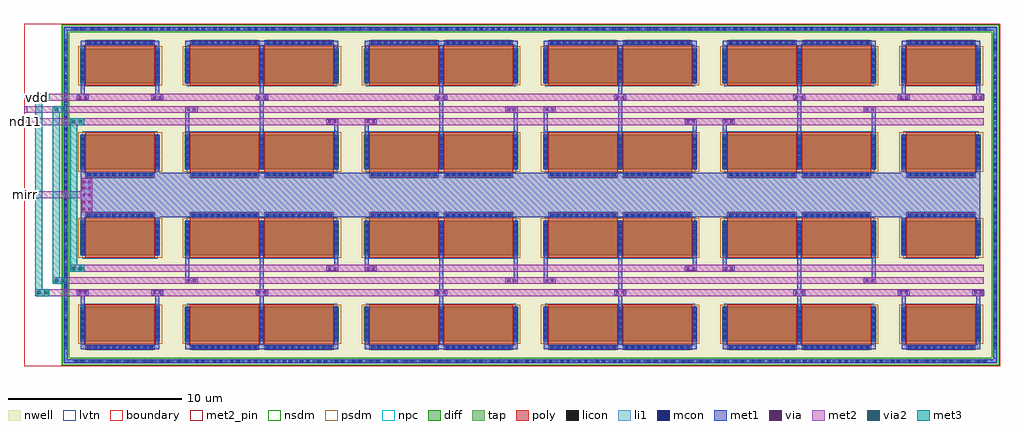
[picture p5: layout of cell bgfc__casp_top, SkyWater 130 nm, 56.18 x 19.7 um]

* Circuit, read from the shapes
.subckt bgfc__casp_top mirr nd10 nd11 vdd
XM1 vdd vdd vdd n1 sky130_fd_pr__pfet_01v8_lvt w=2 l=4 m=20
XM2 mirr mirr mirr n1 sky130_fd_pr__pfet_01v8_lvt w=2 l=4 m=4
XM3 vdd mirr nd10 n1 sky130_fd_pr__pfet_01v8_lvt w=2 l=4 m=8
XM4 nd11 mirr vdd n1 sky130_fd_pr__pfet_01v8_lvt w=2 l=4 m=8
.ends

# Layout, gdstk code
from math import pi, radians
import gdstk
lib = gdstk.Library(unit=1e-6, precision=1e-09)
def R(c, l, rs):  # rectangles x0, y0, x1, y1
    for r in rs: c.add(gdstk.rectangle(r[:2], r[2:], *l))
def A(c, l, x, y, w, h, nx, ny, dx, dy):  # array of equal rectangles
    R(c, l, [(x+i*dx, y+j*dy, x+i*dx+w, y+j*dy+h) for i in range(nx) for j in range(ny)])
nwell = (64, 20)
diff = (65, 20)
tap = (65, 44)
poly = (66, 20)
licon = (66, 44)
li1 = (67, 20)
mcon = (67, 44)
met1 = (68, 20)
via = (68, 44)
met2_pin = (69, 16)
met2 = (69, 20)
via2 = (69, 44)
met3 = (70, 20)
nsdm = (93, 44)
psdm = (94, 20)
npc = (95, 20)
lvtn = (125, 44)
boundary = (235, 4)

via__li_m1 = lib.new_cell('via__LI_M1')
R(via__li_m1, li1, [(0.03,0.03,0.56,0.2)])
R(via__li_m1, mcon, [(0.03,0.03,0.2,0.2), (0.39,0.03,0.56,0.2)])
R(via__li_m1, met1, [(0,0,0.59,0.23)])

bgfccpt__dum = lib.new_cell('bgfccpt__DUM')
R(bgfccpt__dum, nwell, [(-2.47,-1.49,2.47,1.32)])
R(bgfccpt__dum, diff, [(-2.29,-1.18,2.29,0.82)])
R(bgfccpt__dum, poly, [(-2,-1.31,2,1.305)])
A(bgfccpt__dum, licon, -2.23, -1.115, 0.17, 0.17, 1, 6, 0, 0.34)
A(bgfccpt__dum, licon, 2.06, -1.115, 0.17, 0.17, 1, 6, 0, 0.34)
A(bgfccpt__dum, licon, -1.785, 1.055, 0.17, 0.17, 11, 1, 0.34, 0)
R(bgfccpt__dum, li1, [(-2.23,-1.2,-2.06,0.84), (2.06,-1.2,2.23,0.84), (-2,1.055,2,1.225)])
A(bgfccpt__dum, mcon, -2.23, -0.985, 0.17, 0.17, 1, 5, 0, 0.36)
A(bgfccpt__dum, mcon, 2.06, -0.985, 0.17, 0.17, 1, 5, 0, 0.36)
A(bgfccpt__dum, mcon, -1.885, 1.055, 0.17, 0.17, 11, 1, 0.36, 0)
R(bgfccpt__dum, met1, [(-2.26,-1.18,-2.03,0.82), (2.03,-1.18,2.26,0.82), (-1.98,1.025,1.98,1.255)])
R(bgfccpt__dum, psdm, [(-2.415,-1.305,2.415,0.945)])
R(bgfccpt__dum, npc, [(-1.885,0.955,1.885,1.325)])
R(bgfccpt__dum, lvtn, [(-2.18,-1.36,2.18,1)])

via__m2_m3 = lib.new_cell('via__M2_M3')
R(via__m2_m3, met2, [(0,0,0.8,0.4)])
R(via__m2_m3, via2, [(0.1,0.1,0.3,0.3), (0.5,0.1,0.7,0.3)])
R(via__m2_m3, met3, [(0,0,0.8,0.4)])

via__m1_m2 = lib.new_cell('via__M1_M2')
R(via__m1_m2, met1, [(0,0.05,0.7,0.35)])
R(via__m1_m2, via, [(0.115,0.125,0.265,0.275), (0.435,0.125,0.585,0.275)])
R(via__m1_m2, met2, [(0.05,0,0.65,0.4)])

bgfccpt__m10 = lib.new_cell('bgfccpt__M10')
R(bgfccpt__m10, nwell, [(-2.47,-1.49,2.47,1.32)])
R(bgfccpt__m10, diff, [(-2.29,-1.18,2.29,0.82)])
R(bgfccpt__m10, poly, [(-2,-1.31,2,1.305)])
A(bgfccpt__m10, licon, -2.23, -1.115, 0.17, 0.17, 1, 6, 0, 0.34)
A(bgfccpt__m10, licon, 2.06, -1.115, 0.17, 0.17, 1, 6, 0, 0.34)
A(bgfccpt__m10, licon, -1.785, 1.055, 0.17, 0.17, 11, 1, 0.34, 0)
R(bgfccpt__m10, li1, [(-2.23,-1.2,-2.06,0.84), (2.06,-1.2,2.23,0.84), (-2,1.055,2,1.225)])
A(bgfccpt__m10, mcon, -2.23, -0.985, 0.17, 0.17, 1, 5, 0, 0.36)
A(bgfccpt__m10, mcon, 2.06, -0.985, 0.17, 0.17, 1, 5, 0, 0.36)
A(bgfccpt__m10, mcon, -1.885, 1.055, 0.17, 0.17, 11, 1, 0.36, 0)
R(bgfccpt__m10, met1, [(-2.26,-1.18,-2.03,0.82), (2.03,-1.18,2.26,0.82), (-1.98,1.025,1.98,1.255)])
R(bgfccpt__m10, psdm, [(-2.415,-1.305,2.415,0.945)])
R(bgfccpt__m10, npc, [(-1.885,0.955,1.885,1.325)])
R(bgfccpt__m10, lvtn, [(-2.18,-1.36,2.18,1)])

bgfccpt__m11 = lib.new_cell('bgfccpt__M11')
R(bgfccpt__m11, nwell, [(-2.47,-1.49,2.47,1.32)])
R(bgfccpt__m11, diff, [(-2.29,-1.18,2.29,0.82)])
R(bgfccpt__m11, poly, [(-2,-1.31,2,1.305)])
A(bgfccpt__m11, licon, -2.23, -1.115, 0.17, 0.17, 1, 6, 0, 0.34)
A(bgfccpt__m11, licon, 2.06, -1.115, 0.17, 0.17, 1, 6, 0, 0.34)
A(bgfccpt__m11, licon, -1.785, 1.055, 0.17, 0.17, 11, 1, 0.34, 0)
R(bgfccpt__m11, li1, [(-2.23,-1.2,-2.06,0.84), (2.06,-1.2,2.23,0.84), (-2,1.055,2,1.225)])
A(bgfccpt__m11, mcon, -2.23, -0.985, 0.17, 0.17, 1, 5, 0, 0.36)
A(bgfccpt__m11, mcon, 2.06, -0.985, 0.17, 0.17, 1, 5, 0, 0.36)
A(bgfccpt__m11, mcon, -1.885, 1.055, 0.17, 0.17, 11, 1, 0.36, 0)
R(bgfccpt__m11, met1, [(-2.26,-1.18,-2.03,0.82), (2.03,-1.18,2.26,0.82), (-1.98,1.025,1.98,1.255)])
R(bgfccpt__m11, psdm, [(-2.415,-1.305,2.415,0.945)])
R(bgfccpt__m11, npc, [(-1.885,0.955,1.885,1.325)])
R(bgfccpt__m11, lvtn, [(-2.18,-1.36,2.18,1)])

bgfccpt__guardring_p = lib.new_cell('bgfccpt__Guardring_P')
R(bgfccpt__guardring_p, nwell, [(-90.785,24.89,-36.745,44.585)])
R(bgfccpt__guardring_p, tap, [(-90.605,25.07,-36.925,25.24), (-90.605,25.24,-90.435,44.235), (-37.095,25.24,-36.925,44.235), (-90.605,44.235,-36.925,44.405)])
A(bgfccpt__guardring_p, licon, -89.905, 25.07, 0.17, 0.17, 154, 1, 0.34, 0)
A(bgfccpt__guardring_p, licon, -90.605, 25.855, 0.17, 0.17, 1, 53, 0, 0.34)
A(bgfccpt__guardring_p, licon, -37.095, 25.855, 0.17, 0.17, 1, 53, 0, 0.34)
A(bgfccpt__guardring_p, licon, -90.17, 44.235, 0.17, 0.17, 155, 1, 0.34, 0)
R(bgfccpt__guardring_p, li1, [(-90.605,25.07,-36.925,25.24), (-90.605,25.24,-90.435,44.235), (-37.095,25.24,-36.925,44.235), (-90.605,44.235,-36.925,44.405)])
R(bgfccpt__guardring_p, nsdm, [(-90.73,24.945,-36.8,25.365), (-90.73,25.365,-90.31,44.11), (-37.22,25.365,-36.8,44.11), (-90.73,44.11,-36.8,44.53)])

bgfc__casp_top = lib.new_cell('bgfc__casp_top')
A(bgfc__casp_top, met1, 13.415, 0.98, 0.56, 0.23, 4, 2, 10.31, 17.505)
A(bgfc__casp_top, met1, 9.29, 1.21, 0.23, 0.32, 3, 2, 4.29, 16.955)
A(bgfc__casp_top, met1, 19.6, 1.21, 0.23, 0.32, 3, 2, 4.29, 16.955)
A(bgfc__casp_top, met1, 29.91, 1.21, 0.23, 0.32, 3, 2, 4.29, 16.955)
A(bgfc__casp_top, met1, 40.22, 1.21, 0.23, 0.32, 3, 2, 4.29, 16.955)
A(bgfc__casp_top, met1, 13.58, 3.3, 0.23, 3.07, 4, 2, 10.31, 10.025)
R(bgfc__casp_top, met1, [(2.29,0.15,56.03,0.38), (2.29,0.38,2.52,19.315), (55.8,0.38,56.03,19.315), (3.27,0.98,3.665,1.21), (7.395,0.98,7.79,1.21), (9.29,0.98,9.685,1.21), (17.705,0.98,18.1,1.21), (19.6,0.98,19.995,1.21), (28.015,0.98,28.41,1.21), (29.91,0.98,30.305,1.21), (38.325,0.98,38.72,1.21), (40.22,0.98,40.615,1.21), (48.635,0.98,49.03,1.21), (50.53,0.98,50.925,1.21), (54.655,0.98,55.05,1.21), (3.27,1.21,3.5,1.53), (7.56,1.21,7.79,1.53), (50.53,1.21,50.76,1.53), (54.82,1.21,55.05,1.53), (3.27,3.3,3.5,4.375), (7.56,3.3,7.79,4.375), (50.53,3.3,50.76,4.375), (54.82,3.3,55.05,4.375), (9.29,4.775,9.52,6.37), (28.18,4.775,28.41,6.37), (29.91,4.775,30.14,6.37), (48.8,4.775,49.03,6.37), (17.87,5.475,18.1,6.37), (19.6,5.475,19.83,6.37), (38.49,5.475,38.72,6.37), (40.22,5.475,40.45,6.37), (3.27,8.255,3.5,8.575), (7.56,8.255,7.79,8.575), (50.53,8.255,50.76,8.575), (54.82,8.255,55.05,8.575), (3.27,8.575,55.05,11.12), (3.27,11.12,3.5,11.44), (7.56,11.12,7.79,11.44), (50.53,11.12,50.76,11.44), (54.82,11.12,55.05,11.44), (9.29,13.325,9.52,14.92), (17.87,13.325,18.1,14.22), (19.6,13.325,19.83,14.22), (28.18,13.325,28.41,14.92), (29.91,13.325,30.14,14.92), (38.49,13.325,38.72,14.22), (40.22,13.325,40.45,14.22), (48.8,13.325,49.03,14.92), (3.27,15.32,3.5,16.395), (7.56,15.32,7.79,16.395), (50.53,15.32,50.76,16.395), (54.82,15.32,55.05,16.395), (3.27,18.165,3.5,18.485), (7.56,18.165,7.79,18.485), (50.53,18.165,50.76,18.485), (54.82,18.165,55.05,18.485), (3.27,18.485,3.665,18.715), (7.395,18.485,7.79,18.715), (9.29,18.485,9.685,18.715), (17.705,18.485,18.1,18.715), (19.6,18.485,19.995,18.715), (28.015,18.485,28.41,18.715), (29.91,18.485,30.305,18.715), (38.325,18.485,38.72,18.715), (40.22,18.485,40.615,18.715), (48.635,18.485,49.03,18.715), (50.53,18.485,50.925,18.715), (54.655,18.485,55.05,18.715), (2.29,19.315,56.03,19.545)])
R(bgfc__casp_top, met2_pin, [(0,9.65,0.2,10.05), (0,13.87,0.2,14.27), (0,14.57,0.2,14.97), (0.66,15.27,0.86,15.67)])
R(bgfc__casp_top, met2, [(0.66,4.025,55.235,4.425), (1.66,4.725,55.235,5.125), (2.66,5.425,55.235,5.825), (0,9.65,3.92,10.05), (0,13.87,55.235,14.27), (0,14.57,55.235,14.97), (0.66,15.27,55.235,15.67)])
R(bgfc__casp_top, met3, [(0.66,4.025,1.06,15.67), (1.66,4.725,2.06,14.97), (2.66,5.425,3.06,14.27)])
R(bgfc__casp_top, boundary, [(0,0,56.18,19.695)])
bgfc__casp_top.add(gdstk.Reference(via__li_m1, (3.855,0.15)))
bgfc__casp_top.add(gdstk.Reference(via__li_m1, (4.855,0.15)))
bgfc__casp_top.add(gdstk.Reference(via__li_m1, (2.29,1.74), rotation=3*pi/2))
bgfc__casp_top.add(gdstk.Reference(via__li_m1, (2.29,2.74), rotation=3*pi/2))
bgfc__casp_top.add(gdstk.Reference(via__li_m1, (2.855,0.15)))
bgfc__casp_top.add(gdstk.Reference(bgfccpt__dum, (5.53,2.235), rotation=pi))
bgfc__casp_top.add(gdstk.Reference(via__li_m1, (5.855,0.15)))
bgfc__casp_top.add(gdstk.Reference(via__li_m1, (6.855,0.15)))
bgfc__casp_top.add(gdstk.Reference(via__li_m1, (7.855,0.15)))
bgfc__casp_top.add(gdstk.Reference(via__li_m1, (8.855,0.15)))
bgfc__casp_top.add(gdstk.Reference(via__li_m1, (9.855,0.15)))
bgfc__casp_top.add(gdstk.Reference(bgfccpt__dum, (11.55,2.235), rotation=pi))
bgfc__casp_top.add(gdstk.Reference(via__li_m1, (10.855,0.15)))
bgfc__casp_top.add(gdstk.Reference(via__li_m1, (11.855,0.15)))
bgfc__casp_top.add(gdstk.Reference(via__li_m1, (12.855,0.15)))
bgfc__casp_top.add(gdstk.Reference(via__li_m1, (13.855,0.15)))
bgfc__casp_top.add(gdstk.Reference(via__li_m1, (14.855,0.15)))
bgfc__casp_top.add(gdstk.Reference(bgfccpt__dum, (15.84,2.235), rotation=pi))
bgfc__casp_top.add(gdstk.Reference(via__li_m1, (15.855,0.15)))
bgfc__casp_top.add(gdstk.Reference(via__li_m1, (16.855,0.15)))
bgfc__casp_top.add(gdstk.Reference(via__li_m1, (17.855,0.15)))
bgfc__casp_top.add(gdstk.Reference(via__li_m1, (18.855,0.15)))
bgfc__casp_top.add(gdstk.Reference(via__li_m1, (19.855,0.15)))
bgfc__casp_top.add(gdstk.Reference(bgfccpt__dum, (21.86,2.235), rotation=pi))
bgfc__casp_top.add(gdstk.Reference(via__li_m1, (20.855,0.15)))
bgfc__casp_top.add(gdstk.Reference(via__li_m1, (21.855,0.15)))
bgfc__casp_top.add(gdstk.Reference(via__li_m1, (22.855,0.15)))
bgfc__casp_top.add(gdstk.Reference(via__li_m1, (23.855,0.15)))
bgfc__casp_top.add(gdstk.Reference(via__li_m1, (24.855,0.15)))
bgfc__casp_top.add(gdstk.Reference(bgfccpt__dum, (26.15,2.235), rotation=pi))
bgfc__casp_top.add(gdstk.Reference(via__li_m1, (27.855,0.15)))
bgfc__casp_top.add(gdstk.Reference(via__li_m1, (25.855,0.15)))
bgfc__casp_top.add(gdstk.Reference(via__li_m1, (26.855,0.15)))
bgfc__casp_top.add(gdstk.Reference(via__li_m1, (28.855,0.15)))
bgfc__casp_top.add(gdstk.Reference(via__li_m1, (29.855,0.15)))
bgfc__casp_top.add(gdstk.Reference(bgfccpt__dum, (32.17,2.235), rotation=pi))
bgfc__casp_top.add(gdstk.Reference(via__li_m1, (30.855,0.15)))
bgfc__casp_top.add(gdstk.Reference(via__li_m1, (31.855,0.15)))
bgfc__casp_top.add(gdstk.Reference(via__li_m1, (32.855,0.15)))
bgfc__casp_top.add(gdstk.Reference(via__li_m1, (33.855,0.15)))
bgfc__casp_top.add(gdstk.Reference(via__li_m1, (34.855,0.15)))
bgfc__casp_top.add(gdstk.Reference(bgfccpt__dum, (36.46,2.235), rotation=pi))
bgfc__casp_top.add(gdstk.Reference(via__li_m1, (35.855,0.15)))
bgfc__casp_top.add(gdstk.Reference(via__li_m1, (36.855,0.15)))
bgfc__casp_top.add(gdstk.Reference(via__li_m1, (37.855,0.15)))
bgfc__casp_top.add(gdstk.Reference(via__li_m1, (38.855,0.15)))
bgfc__casp_top.add(gdstk.Reference(via__li_m1, (39.855,0.15)))
bgfc__casp_top.add(gdstk.Reference(bgfccpt__dum, (42.48,2.235), rotation=pi))
bgfc__casp_top.add(gdstk.Reference(via__li_m1, (40.855,0.15)))
bgfc__casp_top.add(gdstk.Reference(via__li_m1, (41.855,0.15)))
bgfc__casp_top.add(gdstk.Reference(via__li_m1, (42.855,0.15)))
bgfc__casp_top.add(gdstk.Reference(via__li_m1, (43.855,0.15)))
bgfc__casp_top.add(gdstk.Reference(via__li_m1, (44.855,0.15)))
bgfc__casp_top.add(gdstk.Reference(bgfccpt__dum, (46.77,2.235), rotation=pi))
bgfc__casp_top.add(gdstk.Reference(via__li_m1, (45.855,0.15)))
bgfc__casp_top.add(gdstk.Reference(via__li_m1, (46.855,0.15)))
bgfc__casp_top.add(gdstk.Reference(via__li_m1, (47.855,0.15)))
bgfc__casp_top.add(gdstk.Reference(via__li_m1, (48.855,0.15)))
bgfc__casp_top.add(gdstk.Reference(via__li_m1, (49.855,0.15)))
bgfc__casp_top.add(gdstk.Reference(via__li_m1, (50.855,0.15)))
bgfc__casp_top.add(gdstk.Reference(via__li_m1, (51.855,0.15)))
bgfc__casp_top.add(gdstk.Reference(via__li_m1, (52.855,0.15)))
bgfc__casp_top.add(gdstk.Reference(via__li_m1, (53.855,0.15)))
bgfc__casp_top.add(gdstk.Reference(via__li_m1, (54.855,0.15)))
bgfc__casp_top.add(gdstk.Reference(bgfccpt__dum, (52.79,2.235), rotation=pi))
bgfc__casp_top.add(gdstk.Reference(via__li_m1, (55.8,1.74), rotation=3*pi/2))
bgfc__casp_top.add(gdstk.Reference(via__li_m1, (55.8,2.74), rotation=3*pi/2))
bgfc__casp_top.add(gdstk.Reference(via__li_m1, (2.29,3.74), rotation=3*pi/2))
bgfc__casp_top.add(gdstk.Reference(via__li_m1, (2.29,4.74), rotation=3*pi/2))
bgfc__casp_top.add(gdstk.Reference(via__li_m1, (2.29,5.74), rotation=3*pi/2))
bgfc__casp_top.add(gdstk.Reference(via__m2_m3, (1.66,4.725)))
bgfc__casp_top.add(gdstk.Reference(via__m1_m2, (3.035,4.425), x_reflection=True))
bgfc__casp_top.add(gdstk.Reference(via__m2_m3, (2.66,5.425)))
bgfc__casp_top.add(gdstk.Reference(via__m2_m3, (0.66,4.025)))
bgfc__casp_top.add(gdstk.Reference(via__m1_m2, (7.325,4.425), x_reflection=True))
bgfc__casp_top.add(gdstk.Reference(via__m1_m2, (9.99,4.725), rotation=pi, x_reflection=True))
bgfc__casp_top.add(gdstk.Reference(via__m1_m2, (13.345,4.425), x_reflection=True))
bgfc__casp_top.add(gdstk.Reference(via__m1_m2, (20.3,5.425), rotation=pi, x_reflection=True))
bgfc__casp_top.add(gdstk.Reference(via__m1_m2, (17.4,5.425)))
bgfc__casp_top.add(gdstk.Reference(via__m1_m2, (23.655,4.425), x_reflection=True))
bgfc__casp_top.add(gdstk.Reference(via__m1_m2, (30.61,4.725), rotation=pi, x_reflection=True))
bgfc__casp_top.add(gdstk.Reference(via__m1_m2, (27.71,4.725)))
bgfc__casp_top.add(gdstk.Reference(via__m1_m2, (33.965,4.425), x_reflection=True))
bgfc__casp_top.add(gdstk.Reference(via__m1_m2, (38.02,5.425)))
bgfc__casp_top.add(gdstk.Reference(via__m1_m2, (44.275,4.425), x_reflection=True))
bgfc__casp_top.add(gdstk.Reference(via__m1_m2, (40.92,5.425), rotation=pi, x_reflection=True))
bgfc__casp_top.add(gdstk.Reference(via__m1_m2, (48.33,4.725)))
bgfc__casp_top.add(gdstk.Reference(via__m1_m2, (50.295,4.425), x_reflection=True))
bgfc__casp_top.add(gdstk.Reference(via__m1_m2, (54.585,4.425), x_reflection=True))
bgfc__casp_top.add(gdstk.Reference(via__li_m1, (55.8,3.74), rotation=3*pi/2))
bgfc__casp_top.add(gdstk.Reference(via__li_m1, (55.8,4.74), rotation=3*pi/2))
bgfc__casp_top.add(gdstk.Reference(via__li_m1, (55.8,5.74), rotation=3*pi/2))
bgfc__casp_top.add(gdstk.Reference(via__li_m1, (2.29,6.74), rotation=3*pi/2))
bgfc__casp_top.add(gdstk.Reference(via__li_m1, (2.29,7.74), rotation=3*pi/2))
bgfc__casp_top.add(gdstk.Reference(via__li_m1, (2.29,8.74), rotation=3*pi/2))
bgfc__casp_top.add(gdstk.Reference(bgfccpt__dum, (5.53,7.55)))
bgfc__casp_top.add(gdstk.Reference(bgfccpt__m10, (11.55,7.55)))
bgfc__casp_top.add(gdstk.Reference(bgfccpt__m11, (15.84,7.55)))
bgfc__casp_top.add(gdstk.Reference(bgfccpt__m11, (21.86,7.55)))
bgfc__casp_top.add(gdstk.Reference(bgfccpt__m10, (26.15,7.55)))
bgfc__casp_top.add(gdstk.Reference(bgfccpt__m10, (32.17,7.55)))
bgfc__casp_top.add(gdstk.Reference(bgfccpt__m11, (36.46,7.55)))
bgfc__casp_top.add(gdstk.Reference(bgfccpt__m11, (42.48,7.55)))
bgfc__casp_top.add(gdstk.Reference(bgfccpt__m10, (46.77,7.55)))
bgfc__casp_top.add(gdstk.Reference(bgfccpt__dum, (52.79,7.55)))
bgfc__casp_top.add(gdstk.Reference(via__li_m1, (55.8,6.74), rotation=3*pi/2))
bgfc__casp_top.add(gdstk.Reference(via__li_m1, (55.8,7.74), rotation=3*pi/2))
bgfc__casp_top.add(gdstk.Reference(via__li_m1, (55.8,8.74), rotation=3*pi/2))
bgfc__casp_top.add(gdstk.Reference(via__li_m1, (2.29,9.74), rotation=3*pi/2))
bgfc__casp_top.add(gdstk.Reference(via__m1_m2, (3.97,9.65), rotation=pi))
bgfc__casp_top.add(gdstk.Reference(via__m1_m2, (3.97,9.25), rotation=pi))
bgfc__casp_top.add(gdstk.Reference(via__m1_m2, (3.97,10.05), rotation=pi))
bgfc__casp_top.add(gdstk.Reference(via__li_m1, (55.8,9.74), rotation=3*pi/2))
bgfc__casp_top.add(gdstk.Reference(via__li_m1, (2.29,10.74), rotation=3*pi/2))
bgfc__casp_top.add(gdstk.Reference(via__li_m1, (2.29,11.74), rotation=3*pi/2))
bgfc__casp_top.add(gdstk.Reference(via__li_m1, (2.29,12.74), rotation=3*pi/2))
bgfc__casp_top.add(gdstk.Reference(bgfccpt__dum, (5.53,12.145), x_reflection=True))
bgfc__casp_top.add(gdstk.Reference(via__m1_m2, (3.97,10.8), rotation=pi))
bgfc__casp_top.add(gdstk.Reference(via__m1_m2, (3.97,10.45), rotation=pi))
bgfc__casp_top.add(gdstk.Reference(bgfccpt__m10, (11.55,12.145), x_reflection=True))
bgfc__casp_top.add(gdstk.Reference(bgfccpt__m11, (15.84,12.145), x_reflection=True))
bgfc__casp_top.add(gdstk.Reference(bgfccpt__m11, (21.86,12.145), x_reflection=True))
bgfc__casp_top.add(gdstk.Reference(bgfccpt__m10, (26.15,12.145), x_reflection=True))
bgfc__casp_top.add(gdstk.Reference(bgfccpt__m10, (32.17,12.145), x_reflection=True))
bgfc__casp_top.add(gdstk.Reference(bgfccpt__m11, (36.46,12.145), x_reflection=True))
bgfc__casp_top.add(gdstk.Reference(bgfccpt__m11, (42.48,12.145), x_reflection=True))
bgfc__casp_top.add(gdstk.Reference(bgfccpt__m10, (46.77,12.145), x_reflection=True))
bgfc__casp_top.add(gdstk.Reference(bgfccpt__dum, (52.79,12.145), x_reflection=True))
bgfc__casp_top.add(gdstk.Reference(via__li_m1, (55.8,10.74), rotation=3*pi/2))
bgfc__casp_top.add(gdstk.Reference(via__li_m1, (55.8,11.74), rotation=3*pi/2))
bgfc__casp_top.add(gdstk.Reference(via__li_m1, (55.8,12.74), rotation=3*pi/2))
bgfc__casp_top.add(gdstk.Reference(via__li_m1, (2.29,13.74), rotation=3*pi/2))
bgfc__casp_top.add(gdstk.Reference(via__li_m1, (2.29,14.74), rotation=3*pi/2))
bgfc__casp_top.add(gdstk.Reference(via__li_m1, (2.29,15.74), rotation=3*pi/2))
bgfc__casp_top.add(gdstk.Reference(via__m1_m2, (3.035,15.27)))
bgfc__casp_top.add(gdstk.Reference(via__m2_m3, (2.66,13.87)))
bgfc__casp_top.add(gdstk.Reference(via__m2_m3, (0.66,15.27)))
bgfc__casp_top.add(gdstk.Reference(via__m2_m3, (1.66,14.57)))
bgfc__casp_top.add(gdstk.Reference(via__m1_m2, (9.99,14.97), rotation=pi))
bgfc__casp_top.add(gdstk.Reference(via__m1_m2, (7.325,15.27)))
bgfc__casp_top.add(gdstk.Reference(via__m1_m2, (13.345,15.27)))
bgfc__casp_top.add(gdstk.Reference(via__m1_m2, (20.3,14.27), rotation=pi))
bgfc__casp_top.add(gdstk.Reference(via__m1_m2, (17.4,14.27), x_reflection=True))
bgfc__casp_top.add(gdstk.Reference(via__m1_m2, (23.655,15.27)))
bgfc__casp_top.add(gdstk.Reference(via__m1_m2, (27.71,14.97), x_reflection=True))
bgfc__casp_top.add(gdstk.Reference(via__m1_m2, (30.61,14.97), rotation=pi))
bgfc__casp_top.add(gdstk.Reference(via__m1_m2, (33.965,15.27)))
bgfc__casp_top.add(gdstk.Reference(via__m1_m2, (38.02,14.27), x_reflection=True))
bgfc__casp_top.add(gdstk.Reference(via__m1_m2, (40.92,14.27), rotation=pi))
bgfc__casp_top.add(gdstk.Reference(via__m1_m2, (44.275,15.27)))
bgfc__casp_top.add(gdstk.Reference(via__m1_m2, (48.33,14.97), x_reflection=True))
bgfc__casp_top.add(gdstk.Reference(via__m1_m2, (54.585,15.27)))
bgfc__casp_top.add(gdstk.Reference(via__m1_m2, (50.295,15.27)))
bgfc__casp_top.add(gdstk.Reference(via__li_m1, (55.8,13.74), rotation=3*pi/2))
bgfc__casp_top.add(gdstk.Reference(via__li_m1, (55.8,14.74), rotation=3*pi/2))
bgfc__casp_top.add(gdstk.Reference(via__li_m1, (55.8,15.74), rotation=3*pi/2))
bgfc__casp_top.add(gdstk.Reference(via__li_m1, (2.29,16.74), rotation=3*pi/2))
bgfc__casp_top.add(gdstk.Reference(via__li_m1, (2.29,17.74), rotation=3*pi/2))
bgfc__casp_top.add(gdstk.Reference(via__li_m1, (2.29,18.74), rotation=3*pi/2))
bgfc__casp_top.add(gdstk.Reference(bgfccpt__dum, (5.53,17.46), rotation=pi, x_reflection=True))
bgfc__casp_top.add(gdstk.Reference(bgfccpt__dum, (11.55,17.46), rotation=pi, x_reflection=True))
bgfc__casp_top.add(gdstk.Reference(bgfccpt__dum, (15.84,17.46), rotation=pi, x_reflection=True))
bgfc__casp_top.add(gdstk.Reference(bgfccpt__dum, (21.86,17.46), rotation=pi, x_reflection=True))
bgfc__casp_top.add(gdstk.Reference(bgfccpt__dum, (26.15,17.46), rotation=pi, x_reflection=True))
bgfc__casp_top.add(gdstk.Reference(bgfccpt__dum, (32.17,17.46), rotation=pi, x_reflection=True))
bgfc__casp_top.add(gdstk.Reference(bgfccpt__dum, (36.46,17.46), rotation=pi, x_reflection=True))
bgfc__casp_top.add(gdstk.Reference(bgfccpt__dum, (42.48,17.46), rotation=pi, x_reflection=True))
bgfc__casp_top.add(gdstk.Reference(bgfccpt__dum, (46.77,17.46), rotation=pi, x_reflection=True))
bgfc__casp_top.add(gdstk.Reference(bgfccpt__dum, (52.79,17.46), rotation=pi, x_reflection=True))
bgfc__casp_top.add(gdstk.Reference(via__li_m1, (55.8,16.74), rotation=3*pi/2))
bgfc__casp_top.add(gdstk.Reference(via__li_m1, (55.8,17.74), rotation=3*pi/2))
bgfc__casp_top.add(gdstk.Reference(via__li_m1, (55.8,18.74), rotation=3*pi/2))
bgfc__casp_top.add(gdstk.Reference(via__li_m1, (2.855,19.315)))
bgfc__casp_top.add(gdstk.Reference(via__li_m1, (3.855,19.315)))
bgfc__casp_top.add(gdstk.Reference(via__li_m1, (4.855,19.315)))
bgfc__casp_top.add(gdstk.Reference(via__li_m1, (2.855,19.315)))
bgfc__casp_top.add(gdstk.Reference(via__li_m1, (3.855,19.315)))
bgfc__casp_top.add(gdstk.Reference(via__li_m1, (4.855,19.315)))
bgfc__casp_top.add(gdstk.Reference(via__li_m1, (5.855,19.315)))
bgfc__casp_top.add(gdstk.Reference(via__li_m1, (5.855,19.315)))
bgfc__casp_top.add(gdstk.Reference(via__li_m1, (7.855,19.315)))
bgfc__casp_top.add(gdstk.Reference(via__li_m1, (6.855,19.315)))
bgfc__casp_top.add(gdstk.Reference(via__li_m1, (7.855,19.315)))
bgfc__casp_top.add(gdstk.Reference(via__li_m1, (6.855,19.315)))
bgfc__casp_top.add(gdstk.Reference(via__li_m1, (8.855,19.315)))
bgfc__casp_top.add(gdstk.Reference(via__li_m1, (8.855,19.315)))
bgfc__casp_top.add(gdstk.Reference(via__li_m1, (9.855,19.315)))
bgfc__casp_top.add(gdstk.Reference(via__li_m1, (9.855,19.315)))
bgfc__casp_top.add(gdstk.Reference(via__li_m1, (10.855,19.315)))
bgfc__casp_top.add(gdstk.Reference(via__li_m1, (10.855,19.315)))
bgfc__casp_top.add(gdstk.Reference(via__li_m1, (12.855,19.315)))
bgfc__casp_top.add(gdstk.Reference(via__li_m1, (11.855,19.315)))
bgfc__casp_top.add(gdstk.Reference(via__li_m1, (12.855,19.315)))
bgfc__casp_top.add(gdstk.Reference(via__li_m1, (11.855,19.315)))
bgfc__casp_top.add(gdstk.Reference(via__li_m1, (13.855,19.315)))
bgfc__casp_top.add(gdstk.Reference(via__li_m1, (13.855,19.315)))
bgfc__casp_top.add(gdstk.Reference(via__li_m1, (14.855,19.315)))
bgfc__casp_top.add(gdstk.Reference(via__li_m1, (14.855,19.315)))
bgfc__casp_top.add(gdstk.Reference(via__li_m1, (15.855,19.315)))
bgfc__casp_top.add(gdstk.Reference(via__li_m1, (15.855,19.315)))
bgfc__casp_top.add(gdstk.Reference(via__li_m1, (17.855,19.315)))
bgfc__casp_top.add(gdstk.Reference(via__li_m1, (16.855,19.315)))
bgfc__casp_top.add(gdstk.Reference(via__li_m1, (17.855,19.315)))
bgfc__casp_top.add(gdstk.Reference(via__li_m1, (16.855,19.315)))
bgfc__casp_top.add(gdstk.Reference(via__li_m1, (18.855,19.315)))
bgfc__casp_top.add(gdstk.Reference(via__li_m1, (18.855,19.315)))
bgfc__casp_top.add(gdstk.Reference(via__li_m1, (19.855,19.315)))
bgfc__casp_top.add(gdstk.Reference(via__li_m1, (19.855,19.315)))
bgfc__casp_top.add(gdstk.Reference(via__li_m1, (20.855,19.315)))
bgfc__casp_top.add(gdstk.Reference(via__li_m1, (20.855,19.315)))
bgfc__casp_top.add(gdstk.Reference(via__li_m1, (21.855,19.315)))
bgfc__casp_top.add(gdstk.Reference(via__li_m1, (21.855,19.315)))
bgfc__casp_top.add(gdstk.Reference(via__li_m1, (23.855,19.315)))
bgfc__casp_top.add(gdstk.Reference(via__li_m1, (22.855,19.315)))
bgfc__casp_top.add(gdstk.Reference(via__li_m1, (23.855,19.315)))
bgfc__casp_top.add(gdstk.Reference(via__li_m1, (22.855,19.315)))
bgfc__casp_top.add(gdstk.Reference(via__li_m1, (24.855,19.315)))
bgfc__casp_top.add(gdstk.Reference(via__li_m1, (24.855,19.315)))
bgfc__casp_top.add(gdstk.Reference(via__li_m1, (25.855,19.315)))
bgfc__casp_top.add(gdstk.Reference(via__li_m1, (25.855,19.315)))
bgfc__casp_top.add(gdstk.Reference(via__li_m1, (26.855,19.315)))
bgfc__casp_top.add(gdstk.Reference(via__li_m1, (26.855,19.315)))
bgfc__casp_top.add(gdstk.Reference(via__li_m1, (28.855,19.315)))
bgfc__casp_top.add(gdstk.Reference(via__li_m1, (28.855,19.315)))
bgfc__casp_top.add(gdstk.Reference(via__li_m1, (27.855,19.315)))
bgfc__casp_top.add(gdstk.Reference(via__li_m1, (27.855,19.315)))
bgfc__casp_top.add(gdstk.Reference(via__li_m1, (29.855,19.315)))
bgfc__casp_top.add(gdstk.Reference(via__li_m1, (29.855,19.315)))
bgfc__casp_top.add(gdstk.Reference(via__li_m1, (30.855,19.315)))
bgfc__casp_top.add(gdstk.Reference(via__li_m1, (30.855,19.315)))
bgfc__casp_top.add(gdstk.Reference(via__li_m1, (31.855,19.315)))
bgfc__casp_top.add(gdstk.Reference(via__li_m1, (31.855,19.315)))
bgfc__casp_top.add(gdstk.Reference(via__li_m1, (33.855,19.315)))
bgfc__casp_top.add(gdstk.Reference(via__li_m1, (32.855,19.315)))
bgfc__casp_top.add(gdstk.Reference(via__li_m1, (33.855,19.315)))
bgfc__casp_top.add(gdstk.Reference(via__li_m1, (32.855,19.315)))
bgfc__casp_top.add(gdstk.Reference(via__li_m1, (34.855,19.315)))
bgfc__casp_top.add(gdstk.Reference(via__li_m1, (34.855,19.315)))
bgfc__casp_top.add(gdstk.Reference(via__li_m1, (35.855,19.315)))
bgfc__casp_top.add(gdstk.Reference(via__li_m1, (35.855,19.315)))
bgfc__casp_top.add(gdstk.Reference(via__li_m1, (36.855,19.315)))
bgfc__casp_top.add(gdstk.Reference(via__li_m1, (36.855,19.315)))
bgfc__casp_top.add(gdstk.Reference(via__li_m1, (37.855,19.315)))
bgfc__casp_top.add(gdstk.Reference(via__li_m1, (37.855,19.315)))
bgfc__casp_top.add(gdstk.Reference(via__li_m1, (39.855,19.315)))
bgfc__casp_top.add(gdstk.Reference(via__li_m1, (38.855,19.315)))
bgfc__casp_top.add(gdstk.Reference(via__li_m1, (39.855,19.315)))
bgfc__casp_top.add(gdstk.Reference(via__li_m1, (38.855,19.315)))
bgfc__casp_top.add(gdstk.Reference(via__li_m1, (40.855,19.315)))
bgfc__casp_top.add(gdstk.Reference(via__li_m1, (40.855,19.315)))
bgfc__casp_top.add(gdstk.Reference(via__li_m1, (41.855,19.315)))
bgfc__casp_top.add(gdstk.Reference(via__li_m1, (41.855,19.315)))
bgfc__casp_top.add(gdstk.Reference(via__li_m1, (42.855,19.315)))
bgfc__casp_top.add(gdstk.Reference(via__li_m1, (42.855,19.315)))
bgfc__casp_top.add(gdstk.Reference(via__li_m1, (44.855,19.315)))
bgfc__casp_top.add(gdstk.Reference(via__li_m1, (43.855,19.315)))
bgfc__casp_top.add(gdstk.Reference(via__li_m1, (44.855,19.315)))
bgfc__casp_top.add(gdstk.Reference(via__li_m1, (43.855,19.315)))
bgfc__casp_top.add(gdstk.Reference(via__li_m1, (45.855,19.315)))
bgfc__casp_top.add(gdstk.Reference(via__li_m1, (45.855,19.315)))
bgfc__casp_top.add(gdstk.Reference(via__li_m1, (46.855,19.315)))
bgfc__casp_top.add(gdstk.Reference(via__li_m1, (46.855,19.315)))
bgfc__casp_top.add(gdstk.Reference(via__li_m1, (47.855,19.315)))
bgfc__casp_top.add(gdstk.Reference(via__li_m1, (47.855,19.315)))
bgfc__casp_top.add(gdstk.Reference(via__li_m1, (49.855,19.315)))
bgfc__casp_top.add(gdstk.Reference(via__li_m1, (48.855,19.315)))
bgfc__casp_top.add(gdstk.Reference(via__li_m1, (49.855,19.315)))
bgfc__casp_top.add(gdstk.Reference(via__li_m1, (48.855,19.315)))
bgfc__casp_top.add(gdstk.Reference(via__li_m1, (50.855,19.315)))
bgfc__casp_top.add(gdstk.Reference(via__li_m1, (50.855,19.315)))
bgfc__casp_top.add(gdstk.Reference(via__li_m1, (51.855,19.315)))
bgfc__casp_top.add(gdstk.Reference(via__li_m1, (51.855,19.315)))
bgfc__casp_top.add(gdstk.Reference(via__li_m1, (52.855,19.315)))
bgfc__casp_top.add(gdstk.Reference(via__li_m1, (52.855,19.315)))
bgfc__casp_top.add(gdstk.Reference(via__li_m1, (53.855,19.315)))
bgfc__casp_top.add(gdstk.Reference(via__li_m1, (53.855,19.315)))
bgfc__casp_top.add(gdstk.Reference(via__li_m1, (54.855,19.315)))
bgfc__casp_top.add(gdstk.Reference(via__li_m1, (54.855,19.315)))
bgfc__casp_top.add(gdstk.Reference(bgfccpt__guardring_p, (92.925,-24.89)))
bgfc__casp_top.add(gdstk.Label('vdd', (0.76,15.47), layer=69, texttype=16))
bgfc__casp_top.add(gdstk.Label('vdd', (0.77,15.47), layer=69, texttype=16))
bgfc__casp_top.add(gdstk.Label('nd11', (0.1,14.07), layer=69, texttype=16))
bgfc__casp_top.add(gdstk.Label('nd10', (0.1,14.77), layer=69, texttype=16))
bgfc__casp_top.add(gdstk.Label('mirr', (0.1,9.85), layer=69, texttype=16))

lib.write_gds('bgfc__casp_top.gds')
